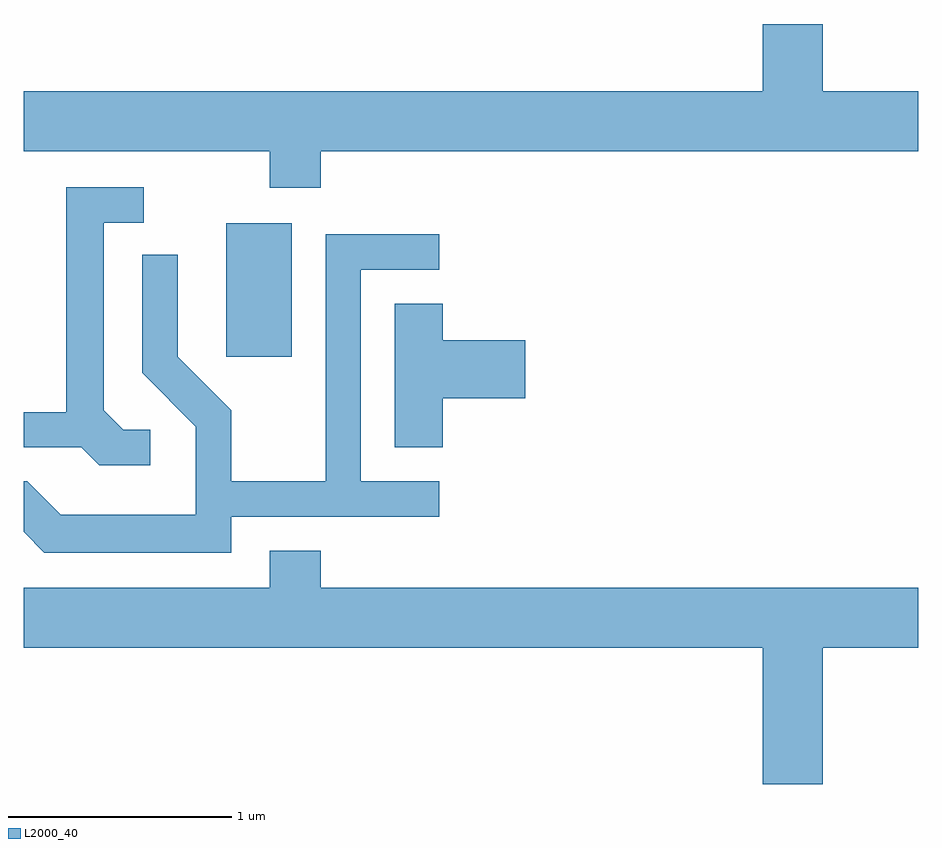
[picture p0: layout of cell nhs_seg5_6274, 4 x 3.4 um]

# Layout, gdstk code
import gdstk
lib = gdstk.Library(unit=1e-6, precision=1e-09)
def R(c, l, rs):  # rectangles x0, y0, x1, y1
    for r in rs: c.add(gdstk.rectangle(r[:2], r[2:], *l))
def P(c, l, *ps):  # polygons
    for p in ps: c.add(gdstk.Polygon(p, *l))
L2000_40 = (2000, 40)

nhs_seg5_6274 = lib.new_cell('nhs_seg5_6274')
R(nhs_seg5_6274, L2000_40, [(372.516,1440.336,372.809,1440.934)])
P(nhs_seg5_6274, L2000_40, [(372.939,1441.256),(375.611,1441.256),(375.611,1441.524),(375.184,1441.524),(375.184,1441.824),(374.916,1441.824),(374.916,1441.524),(371.611,1441.524),(371.611,1441.256),(372.711,1441.256),(372.711,1441.091),(372.939,1441.091)],
  [(372.178,1440.009),(372.057,1440.009),(371.969,1440.097),(371.969,1440.936),(372.148,1440.936),(372.148,1441.094),(371.801,1441.094),(371.801,1440.089),(371.611,1440.089),(371.611,1439.931),(371.869,1439.931),(371.949,1439.851),(372.178,1439.851)],
  [(372.539,1439.621),(373.468,1439.621),(373.468,1439.779),(373.119,1439.779),(373.119,1440.726),(373.468,1440.726),(373.468,1440.884),(372.961,1440.884),(372.961,1439.779),(372.539,1439.779),(372.539,1440.097),(372.299,1440.337),(372.299,1440.793),(372.141,1440.793),(372.141,1440.264),(372.381,1440.024),(372.381,1439.629),(371.777,1439.629),(371.627,1439.779),(371.611,1439.779),(371.611,1439.554),(371.704,1439.461),(372.539,1439.461)],
  [(373.484,1440.151),(373.854,1440.151),(373.854,1440.409),(373.484,1440.409),(373.484,1440.574),(373.271,1440.574),(373.271,1439.931),(373.484,1439.931)],
  [(375.184,1439.036),(375.611,1439.036),(375.611,1439.304),(372.939,1439.304),(372.939,1439.469),(372.711,1439.469),(372.711,1439.304),(371.611,1439.304),(371.611,1439.036),(374.916,1439.036),(374.916,1438.426),(375.184,1438.426)])

lib.write_gds('nhs_seg5_6274.gds')
